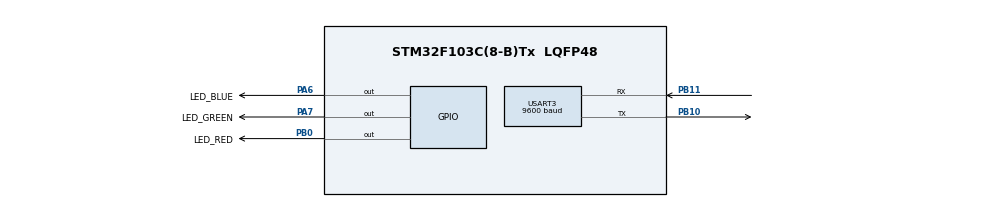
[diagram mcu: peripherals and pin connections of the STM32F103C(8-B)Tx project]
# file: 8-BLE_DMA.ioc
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Dma.Request0=USART3_TX
Dma.Request1=USART3_RX
Dma.USART3_RX.1.Direction=DMA_PERIPH_TO_MEMORY
Dma.USART3_RX.1.Instance=DMA1_Channel3
Dma.USART3_RX.1.MemDataAlignment=DMA_MDATAALIGN_BYTE
Dma.USART3_RX.1.MemInc=DMA_MINC_ENABLE
Dma.USART3_RX.1.Mode=DMA_NORMAL
Dma.USART3_RX.1.PeriphDataAlignment=DMA_PDATAALIGN_BYTE
Dma.USART3_RX.1.PeriphInc=DMA_PINC_DISABLE
Dma.USART3_RX.1.Priority=DMA_PRIORITY_LOW
Dma.USART3_TX.0.Direction=DMA_MEMORY_TO_PERIPH
Dma.USART3_TX.0.Instance=DMA1_Channel2
Dma.USART3_TX.0.MemDataAlignment=DMA_MDATAALIGN_BYTE
Dma.USART3_TX.0.MemInc=DMA_MINC_ENABLE
Dma.USART3_TX.0.Mode=DMA_NORMAL
Dma.USART3_TX.0.PeriphDataAlignment=DMA_PDATAALIGN_BYTE
Dma.USART3_TX.0.PeriphInc=DMA_PINC_DISABLE
Dma.USART3_TX.0.Priority=DMA_PRIORITY_LOW
Mcu.Family=STM32F1
Mcu.Name=STM32F103C(8-B)Tx
Mcu.Package=LQFP48
NVIC.DMA1_Channel2_IRQn=true\:0\:0\:false\:false\:true\:false\:true\:true
NVIC.DMA1_Channel3_IRQn=true\:0\:0\:false\:false\:true\:false\:true\:true
NVIC.PriorityGroup=NVIC_PRIORITYGROUP_4
NVIC.USART3_IRQn=true\:0\:0\:false\:false\:true\:true\:true\:true
PA13.Mode=Serial_Wire
PA13.Signal=SYS_JTMS-SWDIO
PA14.Mode=Serial_Wire
PA14.Signal=SYS_JTCK-SWCLK
PA6.GPIO_Label=LED_BLUE
PA6.Signal=GPIO_Output
PA7.GPIO_Label=LED_GREEN
PA7.Signal=GPIO_Output
PB0.GPIO_Label=LED_RED
PB0.Signal=GPIO_Output
PB10.Mode=Asynchronous
PB10.Signal=USART3_TX
PB11.Mode=Asynchronous
PB11.Signal=USART3_RX
ProjectManager.HeapSize=0x200
ProjectManager.StackSize=0x400
ProjectManager.TargetToolchain=STM32CubeIDE
RCC.APB1Freq_Value=8000000
RCC.APB2Freq_Value=8000000
USART3.BaudRate=9600
USART3.VirtualMode=VM_ASYNC
board=custom

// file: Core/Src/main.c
/* USER CODE BEGIN Header */
/**
  ******************************************************************************
  * @file           : main.c
  * @brief          : Main program body
  ******************************************************************************
  * @attention
  *
  * Copyright (c) 2025 STMicroelectronics.
  * All rights reserved.
  *
  * This software is licensed under terms that can be found in the LICENSE file
  * in the root directory of this software component.
  * If no LICENSE file comes with this software, it is provided AS-IS.
  *
  ******************************************************************************
  */
/* USER CODE END Header */
#include "main.h"

UART_HandleTypeDef huart3;
DMA_HandleTypeDef hdma_usart3_tx;
DMA_HandleTypeDef hdma_usart3_rx;

/* USER CODE BEGIN PV */
uint8_t receiveData[50];

/* USER CODE END PV */

void SystemClock_Config(void);
static void MX_GPIO_Init(void);
static void MX_DMA_Init(void);
static void MX_USART3_UART_Init(void);

/* USER CODE BEGIN 0 */

	// customized communication protocol in hex
	// header: 0xAA
	// Data: 0x01 = red, 0x02 = green, 0x03=blue, 0x00 = OFF, 0xFF = ON
	// Format: header length data check_sum
	// check sum = sum (byte) of all previous bytes
	// example: 0xAA 0x05 0x01 0x00 0xB0
	// example: 0xAA 0x07 0x01 0x00 0x03 0xFF 0xB4
void HAL_UARTEx_RxEventCallback(UART_HandleTypeDef *huart, uint16_t Size){
	if(huart == &huart3){
		HAL_UART_Transmit_DMA(&huart3, receiveData, Size);

		if(receiveData[0] == 0xAA){
			if(receiveData[1] == Size){
				uint8_t sum = 0;	// check sum
				for(int i = 0; i < Size - 1; i++){
					sum += receiveData[i];
				}

				if (sum == receiveData[Size -1]) {
					for(int i = 2; i < Size -1; i+=2){ // read the data from 2

						// determine (i+1) ON or OFF
						// Data: 0x01 = red, 0x02 = green, 0x03=blue, 0x00 = OFF, 0xFF = ON
						// example: 0xAA 0x05 0x01 0x00 0xB0
						// try these protocol:
						// Red OFF == 0xAA 0x05 0x01 0x00 0xB0
						// Red ON == 0xAA 0x05 0x01 0xFF 0xAF
						// Green OFF == 0xAA 0x05 0x02 0x00 0xB1
						// Green ON == 0xAA 0x05 0x02 0xFF 0xB0
						// Blue OFF == 0xAA 0x05 0x03 0x00 0xB2
						// Blue ON == 0xAA 0x05 0x03 0xFF 0xB1

						GPIO_PinState state = GPIO_PIN_SET;
						if (receiveData[i+1]== 0x00){
						  state = GPIO_PIN_RESET;
						}

						// which LED?
						if (receiveData[i]== 0x01){
						  HAL_GPIO_WritePin(LED_RED_GPIO_Port, LED_RED_Pin, state);
						}else if (receiveData[i]== 0x02) {
						  HAL_GPIO_WritePin(LED_GREEN_GPIO_Port, LED_GREEN_Pin, state);
						}else if (receiveData[i]==0x03) {
						  HAL_GPIO_WritePin(LED_BLUE_GPIO_Port, LED_BLUE_Pin, state);
						}
					}
				}
			}
		}

		HAL_UARTEx_ReceiveToIdle_DMA(&huart3, receiveData, sizeof(receiveData));
		__HAL_DMA_DISABLE_IT(&hdma_usart3_rx, DMA_IT_HT);
	}
}
/* USER CODE END 0 */

int main(void)
{

  /* MCU Configuration--------------------------------------------------------*/

  /* Reset of all peripherals, Initializes the Flash interface and the Systick. */
  HAL_Init();

  /* Configure the system clock */
  SystemClock_Config();

  /* Initialize all configured peripherals */
  MX_GPIO_Init();
  MX_DMA_Init();
  MX_USART3_UART_Init();
  /* USER CODE BEGIN 2 */
  HAL_UARTEx_ReceiveToIdle_DMA(&huart3, receiveData, sizeof(receiveData));
  __HAL_DMA_DISABLE_IT(&hdma_usart3_rx, DMA_IT_HT);
  /* USER CODE END 2 */

  /* Infinite loop */
  while (1)
  {

  }
}

void SystemClock_Config(void)
{
  RCC_OscInitTypeDef RCC_OscInitStruct = {0};
  RCC_ClkInitTypeDef RCC_ClkInitStruct = {0};

  /** Initializes the RCC Oscillators according to the specified parameters
  * in the RCC_OscInitTypeDef structure.
  */
  RCC_OscInitStruct.OscillatorType = RCC_OSCILLATORTYPE_HSI;
  RCC_OscInitStruct.HSIState = RCC_HSI_ON;
  RCC_OscInitStruct.HSICalibrationValue = RCC_HSICALIBRATION_DEFAULT;
  RCC_OscInitStruct.PLL.PLLState = RCC_PLL_NONE;
  if (HAL_RCC_OscConfig(&RCC_OscInitStruct) != HAL_OK)
  {
    Error_Handler();
  }

  /** Initializes the CPU, AHB and APB buses clocks
  */
  RCC_ClkInitStruct.ClockType = RCC_CLOCKTYPE_HCLK|RCC_CLOCKTYPE_SYSCLK
                              |RCC_CLOCKTYPE_PCLK1|RCC_CLOCKTYPE_PCLK2;
  RCC_ClkInitStruct.SYSCLKSource = RCC_SYSCLKSOURCE_HSI;
  RCC_ClkInitStruct.AHBCLKDivider = RCC_SYSCLK_DIV1;
  RCC_ClkInitStruct.APB1CLKDivider = RCC_HCLK_DIV1;
  RCC_ClkInitStruct.APB2CLKDivider = RCC_HCLK_DIV1;

  if (HAL_RCC_ClockConfig(&RCC_ClkInitStruct, FLASH_LATENCY_0) != HAL_OK)
  {
    Error_Handler();
  }
}

static void MX_USART3_UART_Init(void)
{

  huart3.Instance = USART3;
  huart3.Init.BaudRate = 9600;
  huart3.Init.WordLength = UART_WORDLENGTH_8B;
  huart3.Init.StopBits = UART_STOPBITS_1;
  huart3.Init.Parity = UART_PARITY_NONE;
  huart3.Init.Mode = UART_MODE_TX_RX;
  huart3.Init.HwFlowCtl = UART_HWCONTROL_NONE;
  huart3.Init.OverSampling = UART_OVERSAMPLING_16;
  if (HAL_UART_Init(&huart3) != HAL_OK)
  {
    Error_Handler();
  }

}

static void MX_DMA_Init(void)
{

  /* DMA controller clock enable */
  __HAL_RCC_DMA1_CLK_ENABLE();

  /* DMA interrupt init */
  /* DMA1_Channel2_IRQn interrupt configuration */
  HAL_NVIC_SetPriority(DMA1_Channel2_IRQn, 0, 0);
  HAL_NVIC_EnableIRQ(DMA1_Channel2_IRQn);
  /* DMA1_Channel3_IRQn interrupt configuration */
  HAL_NVIC_SetPriority(DMA1_Channel3_IRQn, 0, 0);
  HAL_NVIC_EnableIRQ(DMA1_Channel3_IRQn);

}

static void MX_GPIO_Init(void)
{
  GPIO_InitTypeDef GPIO_InitStruct = {0};

  /* GPIO Ports Clock Enable */
  __HAL_RCC_GPIOA_CLK_ENABLE();
  __HAL_RCC_GPIOB_CLK_ENABLE();

  /*Configure GPIO pin Output Level */
  HAL_GPIO_WritePin(GPIOA, LED_BLUE_Pin|LED_GREEN_Pin, GPIO_PIN_RESET);

  /*Configure GPIO pin Output Level */
  HAL_GPIO_WritePin(LED_RED_GPIO_Port, LED_RED_Pin, GPIO_PIN_RESET);

  /*Configure GPIO pins : LED_BLUE_Pin LED_GREEN_Pin */
  GPIO_InitStruct.Pin = LED_BLUE_Pin|LED_GREEN_Pin;
  GPIO_InitStruct.Mode = GPIO_MODE_OUTPUT_PP;
  GPIO_InitStruct.Pull = GPIO_NOPULL;
  GPIO_InitStruct.Speed = GPIO_SPEED_FREQ_LOW;
  HAL_GPIO_Init(GPIOA, &GPIO_InitStruct);

  /*Configure GPIO pin : LED_RED_Pin */
  GPIO_InitStruct.Pin = LED_RED_Pin;
  GPIO_InitStruct.Mode = GPIO_MODE_OUTPUT_PP;
  GPIO_InitStruct.Pull = GPIO_NOPULL;
  GPIO_InitStruct.Speed = GPIO_SPEED_FREQ_LOW;
  HAL_GPIO_Init(LED_RED_GPIO_Port, &GPIO_InitStruct);

}

void Error_Handler(void)
{
  __disable_irq();
  while (1)
  {
  }
}
